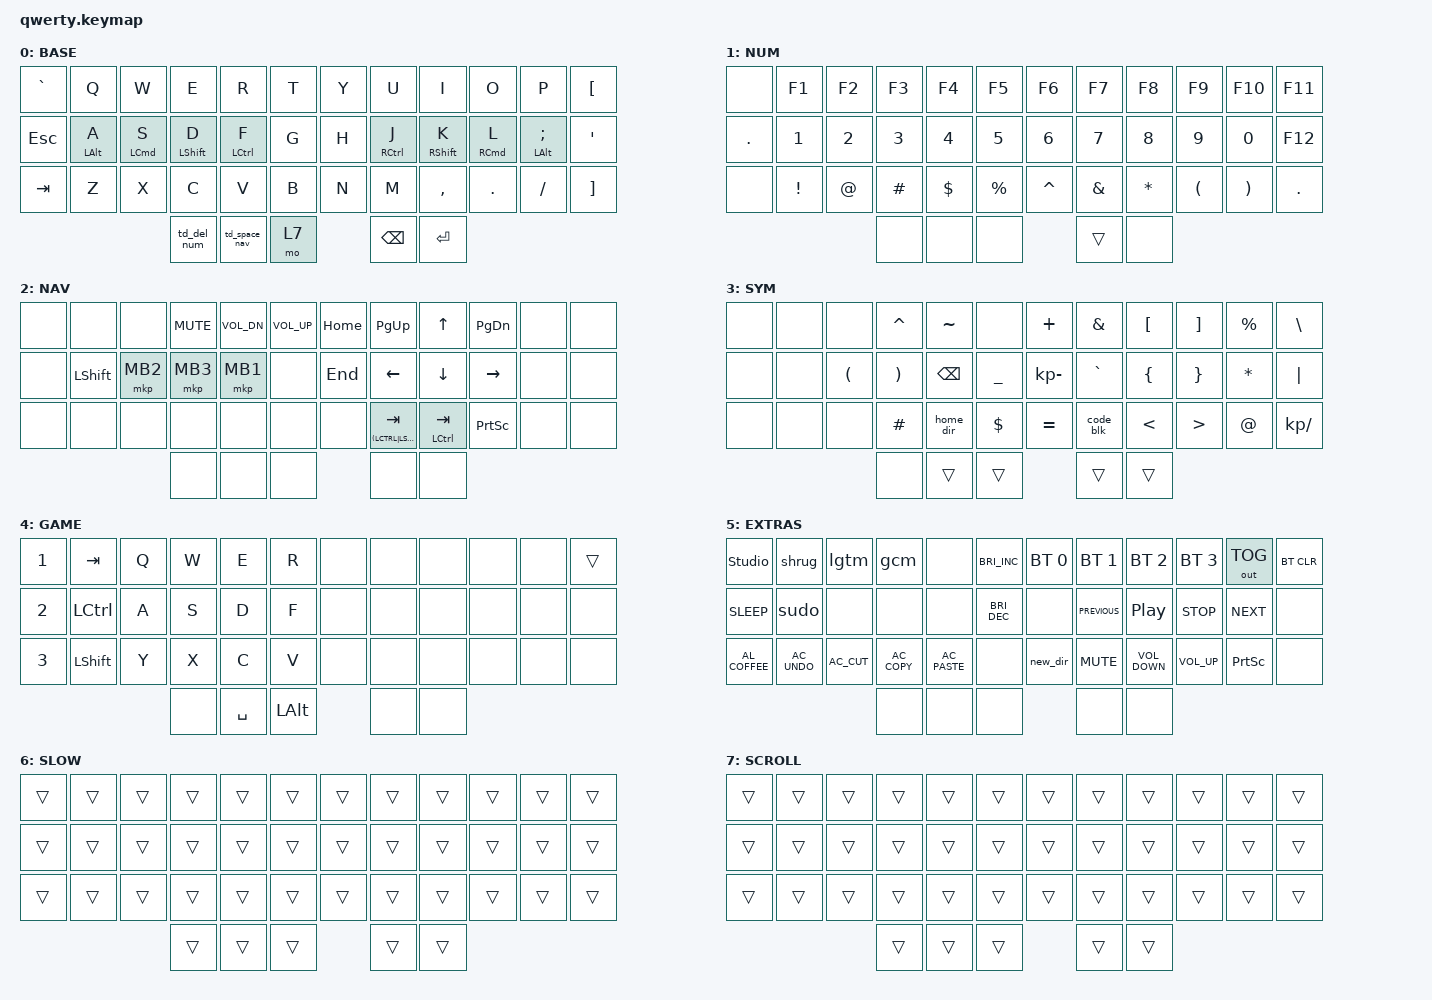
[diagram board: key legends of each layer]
/* upstream bindings and behaviors */
#include <behaviors.dtsi>
#include <dt-bindings/zmk/bt.h>
#include <dt-bindings/zmk/keys.h>
#include <dt-bindings/zmk/mouse.h>
#include <dt-bindings/zmk/outputs.h>
#include <behaviors/mouse_keys.dtsi>
#include <dt-bindings/zmk/ext_power.h>


/* local overlays */
#include "macros.dtsi"
#include "behaviors.dtsi"
#include "combos.dtsi"

/ {
/* --- KEYMAP CONFIG --- */
// ╭──────┬──────┬──────┬──────┬──────┬──────╮  ╭──────┬──────┬──────┬──────┬──────┬──────╮
//    00     01     02     03    04      05        06     07     08     09     10     11
// ├──────┼──────┼──────┼──────┼──────┼──────┤  ├──────┼──────┼──────┼──────┼──────┼──────┤
//    12     13     14     15    16      17        18     19     20     21     22     23
// ├──────┼──────┼──────┼──────┼──────┼──────┤  ├──────┼──────┼──────┼──────┼──────┼──────┤
//    24     25     26     27    28      29        30     31     32     33     34     35
// ╰──────┴──────┴──────┼──────┼──────┼──────┤  ├──────┼──────┼──────┴──────┴──────┴──────╯
//                         36     37     38        39     40
//                      ╰──────┴──────┴──────╯  ╰──────┴──────╯
// #define BASE    0
// #define NUM     1
// #define NAV     2
// #define SYM     3
// #define GAME    4
// #define EXTRAS  5
// #define SLOW    6
// #define SCROLL  7


    keymap {
        compatible = "zmk,keymap";
        BASE {
            bindings = <
// ╭───────────────┬────────────────┬────────────────┬─────────────────┬─────────────────┬──────╮  ╭──────┬──────────────────┬──────────────────┬─────────────────┬────────────────────────┬─────────────╮
    &kp GRAVE       &kp Q            &kp W            &kp E             &kp R             &kp T     &kp Y  &kp U              &kp I              &kp O             &kp P                     &kp LBKT
// ├───────────────┼────────────────┼────────────────┼─────────────────┼─────────────────┼──────┤  ├──────┼──────────────────┼──────────────────┼─────────────────┼────────────────────────┼─────────────┤
    &kp ESC         &ht_left LALT A  &ht_left LCMD S  &ht_left LSHFT D  &ht_left LCTRL F  &kp G     &kp H  &ht_right RCTRL J  &ht_right RSHFT K  &ht_right RCMD L  &ht_right LALT SEMICOLON  &kp SQT
// ├───────────────┼────────────────┼────────────────┼─────────────────┼─────────────────┼──────┤  ├──────┼──────────────────┼──────────────────┼─────────────────┼────────────────────────┼─────────────┤
    &kp TAB         &kp Z            &kp X            &kp C             &kp V             &kp B     &kp N  &kp M              &kp COMMA            &kp PERIOD        &kp SLASH                &kp RBKT
// ╰───────────────┴────────────────┴────────────────┼─────────────────┼─────────────────┼──────┤  ├──────┼──────────────────┼──────────────────┴─────────────────┴────────────────────────┴─────────────╯
                                                             &td_del_num       &td_space_nav  &mo 7     &kp BSPC   &kp ENTER
                                                         // ╰──────────────────┴─────────┴──────╯  ╰──────────┴──────────────╯
            >;
        };

        NUM {
            bindings = <
&none      &kp F1    &kp F2  &kp F3    &kp F4         &kp F5              &kp F6         &kp F7    &kp F8    &kp F9    &kp F10   &kp F11
&kp DOT    &kp N1    &kp N2  &kp N3    &kp N4         &kp N5              &kp N6         &kp N7    &kp N8    &kp N9    &kp N0    &kp F12
&none      &kp EXCL  &kp AT  &kp HASH  &kp DLLR       &kp PRCNT           &kp CARET      &kp AMPS  &kp STAR  &kp LPAR  &kp RPAR  &kp DOT
                                    &none  &none         &none            &trans      &none
            >;
        };
        

        NAV {
            bindings = <
&none    &none           &none           &kp K_MUTE  &kp K_VOL_DN    &kp K_VOL_UP         &kp HOME        &kp PG_UP          &kp UP       &kp PG_DN                &none             &none
&none    &kp LSHFT       &mkp MB2        &mkp MB3     &mkp MB1        &none               &kp END         &kp LEFT_ARROW     &kp DOWN     &kp RIGHT_ARROW          &none             &none
&none    &none           &none           &none        &none           &none               &none           &mt (LCTRL|LSHIFT) TAB              &mt LCTRL TAB        &kp PRINTSCREEN          &none             &none
                                                      &none   &none   &none               &none   &none
            >;
        };

        SYM {
            bindings = <
&none      &none     &none     &kp CARET &kp TILDE       &none         &kp PLUS     &kp AMPS  &kp LBKT  &kp RBKT  &kp PRCNT  &kp BSLH
&none      &none     &kp LPAR  &kp RPAR  &kp BACKSPACE   &kp UNDER     &kp KP_MINUS &kp GRAVE &kp LBRC  &kp RBRC  &kp ASTRK  &kp PIPE
&none      &none     &none     &kp HASH  &home_dir       &kp DLLR      &kp EQUAL    &code_blk &kp LT    &kp GT    &kp AT     &kp KP_SLASH
                                       &none  &trans     &trans         &trans   &trans
            >;
        };

        GAME {
            bindings = <
&kp N1  &kp TAB    &kp Q  &kp W   &kp E      &kp R           &none  &none  &none  &none  &none  &trans
&kp N2  &kp LCTRL  &kp A  &kp S   &kp D      &kp F           &none  &none  &none  &none  &none  &none
&kp N3  &kp LSHFT  &kp Y  &kp X   &kp C      &kp V           &none  &none  &none  &none  &none  &none
                          &none   &kp SPACE  &kp LEFT_ALT    &none  &none
            >;
        };

        EXTRAS {
            bindings = <
&studio_unlock    &shrug          &lgtm           &gcm            &none           &kp C_BRIGHTNESS_INC    &bt BT_SEL 0  &bt BT_SEL 1    &bt BT_SEL 2       &bt BT_SEL 3  &out OUT_TOG         &bt BT_CLR
&kp C_SLEEP       &sudo           &none           &none           &none           &kp C_BRIGHTNESS_DEC    &none         &kp C_PREVIOUS  &kp C_PLAY_PAUSE   &kp C_STOP    &kp C_NEXT           &none
&kp C_AL_COFFEE   &kp C_AC_UNDO   &kp C_AC_CUT    &kp C_AC_COPY   &kp C_AC_PASTE  &none                   &new_dir      &kp K_MUTE      &kp C_VOLUME_DOWN  &kp C_VOLUME_UP   &kp PRINTSCREEN  &none
                                                                                   &none  &none  &none    &none         &none
            >;
        };

        SLOW {
            bindings = <
&trans    &trans    &trans    &trans    &trans    &trans    &trans    &trans    &trans    &trans    &trans    &trans
&trans    &trans    &trans    &trans    &trans    &trans    &trans    &trans    &trans    &trans    &trans    &trans
&trans    &trans    &trans    &trans    &trans    &trans    &trans    &trans    &trans    &trans    &trans    &trans
                              &trans    &trans    &trans    &trans    &trans
            >;
        };

        SCROLL {
            bindings = <
&trans    &trans    &trans    &trans    &trans    &trans    &trans    &trans    &trans    &trans    &trans    &trans
&trans    &trans    &trans    &trans    &trans    &trans    &trans    &trans    &trans    &trans    &trans    &trans
&trans    &trans    &trans    &trans    &trans    &trans    &trans    &trans    &trans    &trans    &trans    &trans
                              &trans    &trans    &trans    &trans    &trans
            >;
        };
    };

};
